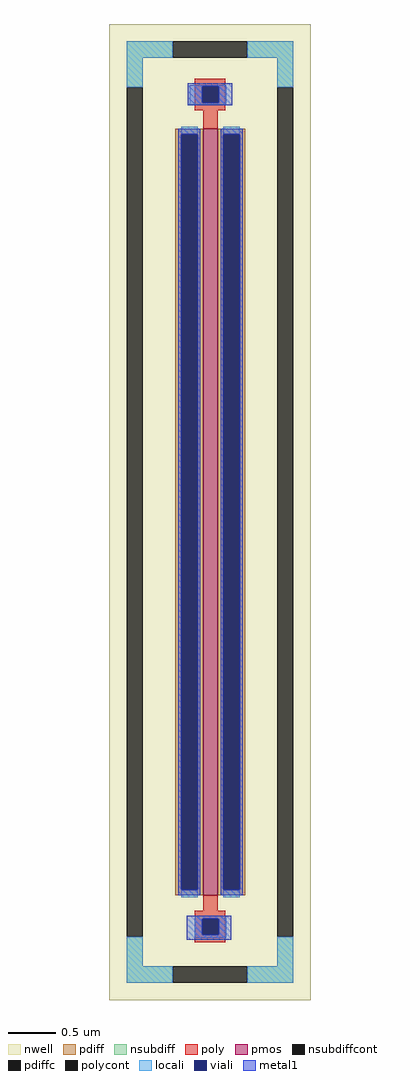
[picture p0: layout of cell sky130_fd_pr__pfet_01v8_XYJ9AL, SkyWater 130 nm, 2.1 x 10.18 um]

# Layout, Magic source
magic
tech sky130A
<< nwell >>
rect -105 -509 105 509
<< pmos >>
rect -7 -400 8 400
<< pdiff >>
rect -36 394 -7 400
rect -36 -394 -30 394
rect -13 -394 -7 394
rect -36 -400 -7 -394
rect 8 394 37 400
rect 8 -394 14 394
rect 31 -394 37 394
rect 8 -400 37 -394
<< pdiffc >>
rect -30 -394 -13 394
rect 14 -394 31 394
<< nsubdiff >>
rect -87 474 -39 491
rect 39 474 87 491
rect -87 443 -70 474
rect 70 443 87 474
rect -87 -474 -70 -443
rect 70 -474 87 -443
rect -87 -491 -39 -474
rect 39 -491 87 -474
<< nsubdiffcont >>
rect -39 474 39 491
rect -87 -443 -70 443
rect 70 -443 87 443
rect -39 -491 39 -474
<< poly >>
rect -16 444 16 452
rect -16 427 -8 444
rect 9 427 16 444
rect -16 419 16 427
rect -7 400 8 419
rect -7 -416 8 -400
rect -16 -424 16 -416
rect -16 -441 -8 -424
rect 9 -441 16 -424
rect -16 -449 16 -441
<< polycont >>
rect -8 427 9 444
rect -8 -441 9 -424
<< locali >>
rect -87 474 -39 491
rect 39 474 87 491
rect -87 443 -70 474
rect -21 444 17 445
rect -21 427 -8 444
rect 9 427 17 444
rect -21 425 17 427
rect 70 443 87 474
rect -30 394 -13 402
rect -30 -402 -13 -394
rect 14 394 31 402
rect 14 -402 31 -394
rect -87 -474 -70 -443
rect -16 -424 17 -421
rect -16 -441 -8 -424
rect 9 -441 17 -424
rect -16 -444 17 -441
rect 70 -474 87 -443
rect -87 -491 -39 -474
rect 39 -491 87 -474
<< viali >>
rect -8 427 9 444
rect -30 -394 -13 394
rect 14 -394 31 394
rect -8 -441 9 -424
<< metal1 >>
rect -23 444 23 447
rect -23 427 -8 444
rect 9 427 23 444
rect -23 424 23 427
rect -33 394 -10 400
rect -33 -394 -30 394
rect -13 -394 -10 394
rect -33 -400 -10 -394
rect 11 394 34 400
rect 11 -394 14 394
rect 31 -394 34 394
rect 11 -400 34 -394
rect -24 -424 22 -421
rect -24 -441 -8 -424
rect 9 -441 22 -424
rect -24 -446 22 -441
<< properties >>
string FIXED_BBOX -79 -483 79 483
string gencell sky130_fd_pr__pfet_01v8
string library sky130
string parameters w 8 l 0.15 m 1 nf 1 diffcov 100 polycov 100 guard 1 glc 1 grc 1 gtc 1 gbc 1 tbcov 100 rlcov 100 topc 1 botc 1 poverlap 0 doverlap 1 lmin 0.15 wmin 0.42 compatible {sky130_fd_pr__pfet_01v8  sky130_fd_pr__pfet_01v8_lvt sky130_fd_pr__pfet_01v8_hvt  sky130_fd_pr__pfet_g5v0d10v5} full_metal 1 viasrc 100 viadrn 100 viagate 100 viagb 0 viagr 0 viagl 0 viagt 0
<< end >>
